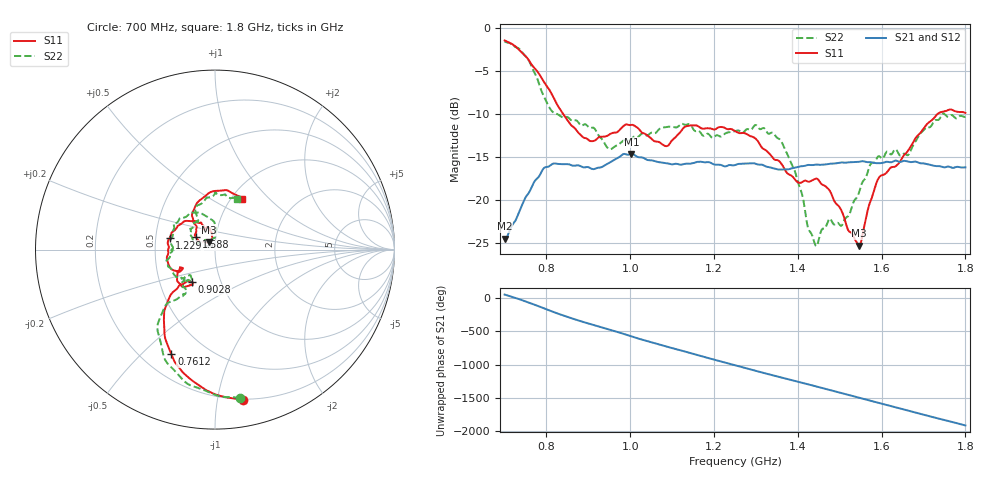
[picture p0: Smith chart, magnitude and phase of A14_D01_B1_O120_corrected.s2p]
! Created with skrf 1.9.0 (http://scikit-rf.org).
# Hz S RI R 50.0
!freq ReS11 ImS11 ReS21 ImS21 ReS12 ImS12 ReS22 ImS22
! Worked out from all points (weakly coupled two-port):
!   1601 points, 700 MHz to 1.8 GHz, reference 50 ohm
!   highest |S21| = -14.62 dB at 1.002 GHz (marker M1); lowest = -24.5 dB at 700 MHz (marker M2)
!   lowest |S11| = -25.3 dB at 1.546 GHz (marker M3), VSWR 1.11, Z = 46.6 + j4.02 ohm
!   |S11| at or under -10 dB: 840.2 MHz to 1.733 GHz (892.7 MHz wide, 69.4 % of centre)
!   |S22| runs from -25.4 to -1.5 dB; largest |S21 - S12| = 0.0038
!   S11 on the Smith chart (normalised r, x): 700 MHz: 0.20, -1.19; 761.2 MHz: 0.32, -0.62; 902.8 MHz: 0.73, -0.28; 1.229 GHz: 0.59, +0.08; 1.588 GHz: 0.80, +0.11; 1.8 GHz: 1.12, +0.71
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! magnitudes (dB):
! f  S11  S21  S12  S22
! 700 MHz  -1.4  -24.5  -24.3  -1.5
! 761.2 MHz  -4.0  -18.9  -18.8  -4.1
! 812.1 MHz  -7.6  -15.9  -15.8  -9.6
! 883.6 MHz  -12.5  -16.1  -16.0  -11.3
! 902.8 MHz  -13.1  -16.2  -16.2  -11.6
! 950.2 MHz  -12.4  -15.6  -15.7  -14.1
! 1.002 GHz  -11.2  -14.6  -14.7  -12.9
! 1.067 GHz  -13.2  -15.6  -15.5  -11.8
! 1.138 GHz  -11.4  -15.8  -15.7  -11.2
! 1.229 GHz  -11.7  -16.1  -16.0  -12.2
! 1.25 GHz  -12.0  -15.9  -15.8  -12.0
! 1.359 GHz  -15.7  -16.5  -16.5  -13.1
! 1.394 GHz  -17.6  -16.2  -16.2  -16.8
! 1.434 GHz  -17.7  -15.9  -15.9  -24.1
! 1.445 GHz  -17.5  -15.9  -15.9  -25.4
! 1.505 GHz  -21.3  -15.6  -15.6  -22.9
! 1.546 GHz  -25.3  -15.5  -15.5  -19.1
! 1.588 GHz  -17.9  -15.7  -15.7  -15.2
! 1.617 GHz  -16.5  -15.6  -15.5  -14.5
! 1.663 GHz  -14.2  -15.5  -15.5  -14.8
! 1.735 GHz  -9.9  -16.0  -16.1  -10.7
! 1.8 GHz  -9.8  -16.2  -16.2  -10.3
